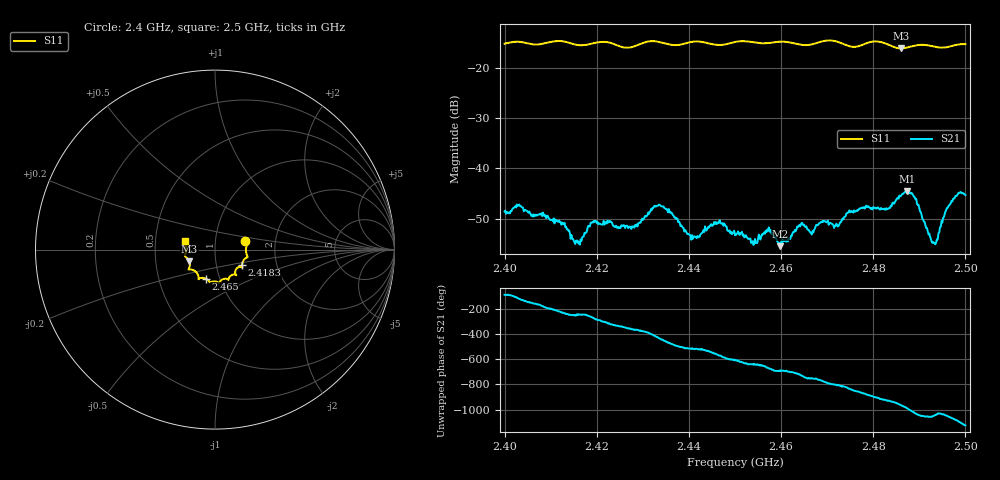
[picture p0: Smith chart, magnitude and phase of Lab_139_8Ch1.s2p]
# Hz S RI R 50
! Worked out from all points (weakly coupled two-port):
!   601 points, 2.4 GHz to 2.5 GHz, reference 50 ohm
!   highest |S21| = -44.49 dB at 2.4873 GHz (marker M1); lowest = -55.5 dB at 2.4598 GHz (marker M2)
!   lowest |S11| = -16.1 dB at 2.486 GHz (marker M3), VSWR 1.37, Z = 37.2 - j4.95 ohm
!   |S11| at or under -10 dB: start of sweep to end of sweep
!   S12 and S22 are empty: the file has one direction only
!   S11 on the Smith chart (normalised r, x): 2.4 GHz: 1.40, +0.13; 2.4183 GHz: 1.33, -0.24; 2.465 GHz: 0.86, -0.29; 2.5 GHz: 0.71, +0.07
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2.4e9  0.1693 0.0462  0.000136 -0.00372  0 0  0 0
2.403167e9  0.1804 0.0322  -0.00224 -0.00375  0 0  0 0
2.416667e9  0.1548 -0.0682  -0.000729 0.00175  0 0  0 0
2.418333e9  0.1498 -0.0871  -0.000594 0.00259  0 0  0 0
2.428e9  0.1133 -0.119  0.00261 -0.000233  0 0  0 0
2.433333e9  0.1174 -0.1408  0.00155 -0.00398  0 0  0 0
2.4405e9  0.0756 -0.1662  -0.00179 -0.000767  0 0  0 0
2.446333e9  0.0499 -0.1632  -0.00261 0.00125  0 0  0 0
2.45e9  0.0251 -0.1808  -0.000783 0.00201  0 0  0 0
2.454333e9  0.0127 -0.18  0.000468 0.00193  0 0  0 0
2.457333e9  -0.0125 -0.1777  0.00176 0.00189  0 0  0 0
2.459833e9  -0.0271 -0.182  0.00141 0.000907  0 0  0 0
2.465e9  -0.0524 -0.1617  0.00254 -0.00106  0 0  0 0
2.466667e9  -0.0714 -0.1573  0.00189 -0.00112  0 0  0 0
2.4775e9  -0.1275 -0.112  -0.00338 -0.00229  0 0  0 0
2.483333e9  -0.1415 -0.0963  -0.0035 0.0019  0 0  0 0
2.486e9  -0.1433 -0.065  -0.00228 0.00481  0 0  0 0
2.487333e9  -0.152 -0.0516  -6.41e-05 0.00596  0 0  0 0
2.488833e9  -0.162 -0.0416  0.00275 0.00445  0 0  0 0
2.493167e9  -0.1635 -0.0184  0.00158 0.000919  0 0  0 0
2.4965e9  -0.1623 0.0225  0.004 0.00159  0 0  0 0
2.5e9  -0.1672 0.0471  0.00376 -0.00392  0 0  0 0
